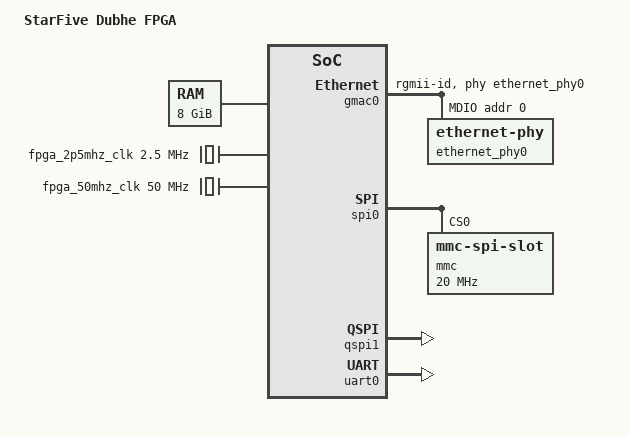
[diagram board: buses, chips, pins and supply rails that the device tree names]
// SPDX-License-Identifier: (GPL-2.0 OR MIT)
/* Copyright (c) 2021 StarFive Technology Co., Ltd. */

#include "dubhe.dtsi"

/ {
	model = "StarFive Dubhe FPGA";

	aliases {
		ethernet0 = &gmac0;
		serial0 = &uart0;
	};

	chosen {
		bootargs = "console=ttySIF0,115200 earlycon=sbi";
	};

	cpus {
		timebase-frequency = <25000000>;

	};

	memory@80000000 {
		device_type = "memory";
		reg = <0x0 0x80000000 0x2 0x0>;
	};

	reserved-memory {
		#address-cells = <2>;
		#size-cells = <2>;
		ranges;

		dma-reserved@260000000 {
			reg = <0x2 0x60000000 0x0 0x20000000>;
			no-map;
		};

		linux,dma@660000000 {
			compatible = "shared-dma-pool";
			reg = <0x6 0x60000000 0x0 0x20000000>;
			no-map;
			linux,dma-default;
		};
	};

	soc {

		fpga_2p5mhz_clk: fpga_2p5mhz_clk {
			compatible = "fixed-clock";
			#clock-cells = <0>;
			clock-frequency = <2500000>;
		};

		fpga_50mhz_clk: fpga_50mhz_clk {
			compatible = "fixed-clock";
			#clock-cells = <0>;
			clock-frequency = <50000000>;
		};
	};
};

&l2_cache {
	compatible = "starfive,dubhe-cache", "cache";
};

&gmac0 {
	phy-mode = "rgmii-id";
	phy-handle = <&ethernet_phy0>;
	clocks = <&fpga_2p5mhz_clk>,
		 <&fpga_2p5mhz_clk>,
		 <&fpga_2p5mhz_clk>,
		 <&fpga_50mhz_clk>,
		 <&fpga_50mhz_clk>,
		 <&fpga_2p5mhz_clk>;

	mdio0 {
		compatible = "snps,dwmac-mdio";
		#address-cells = <1>;
		#size-cells = <0>;
		ethernet_phy0: ethernet-phy@0 {
			reg = <0>;
			max-speed = <10>;
		};
	};
};

&spi0 {
	status = "okay";
	mmc@0 {
		compatible = "mmc-spi-slot";
		reg = <0>;
		spi-max-frequency = <20000000>;
		voltage-ranges = <3300 3300>;
		disable-wp;
	};
};

&qspi1 {
	status = "okay";
};

&uart0 {
	status = "okay";
};
